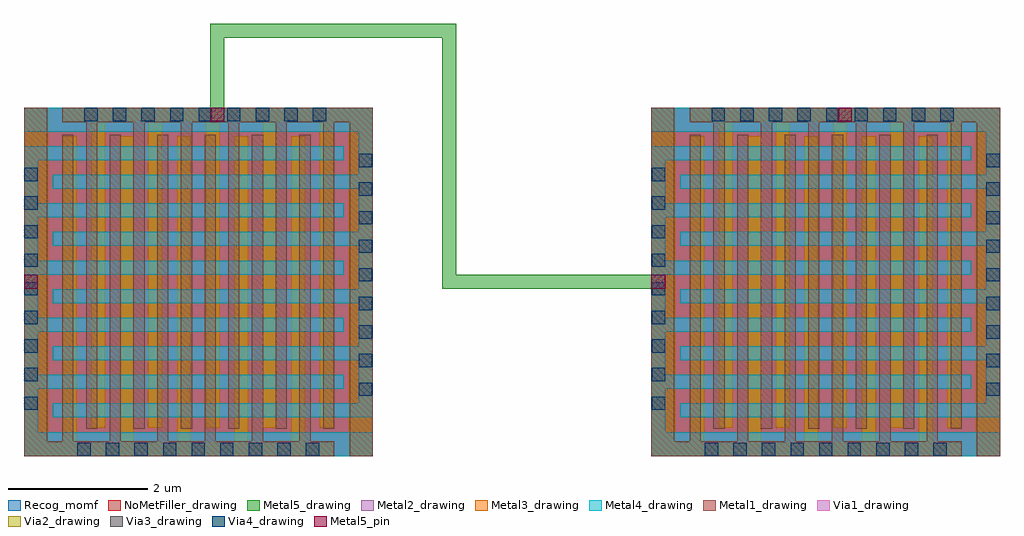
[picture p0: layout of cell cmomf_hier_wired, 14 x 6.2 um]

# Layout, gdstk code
import gdstk
lib = gdstk.Library(unit=1e-6, precision=1e-09)
def R(c, l, rs):  # rectangles x0, y0, x1, y1
    for r in rs: c.add(gdstk.rectangle(r[:2], r[2:], *l))
def A(c, l, x, y, w, h, nx, ny, dx, dy):  # array of equal rectangles
    R(c, l, [(x+i*dx, y+j*dy, x+i*dx+w, y+j*dy+h) for i in range(nx) for j in range(ny)])
Metal1_drawing = (8, 0)
Metal2_drawing = (10, 0)
Via1_drawing = (19, 0)
Via2_drawing = (29, 0)
Metal3_drawing = (30, 0)
Via3_drawing = (49, 0)
Metal4_drawing = (50, 0)
Via4_drawing = (66, 0)
Metal5_drawing = (67, 0)
Metal5_pin = (67, 2)
Recog_momf = (99, 40)
NoMetFiller_drawing = (160, 0)

cmomf_unit = lib.new_cell('cmomf_unit')
A(cmomf_unit, Metal1_drawing, 0.55, 0, 0.16, 4.61, 6, 1, 0.68, 0)
A(cmomf_unit, Metal1_drawing, 0.89, 0.39, 0.16, 4.61, 6, 1, 0.68, 0)
R(cmomf_unit, Metal1_drawing, [(0,0,0.33,5), (0,0,4.45,0.21), (4.67,0,5,5), (0.55,4.79,5,5)])
A(cmomf_unit, Metal2_drawing, 0.42, 0.555, 4.58, 0.2, 1, 5, 0, 0.82)
A(cmomf_unit, Metal2_drawing, 0, 0.965, 4.58, 0.2, 1, 5, 0, 0.82)
R(cmomf_unit, Metal2_drawing, [(0,0,5,0.345), (0,0,0.205,4.445), (4.795,0.555,5,5), (0,4.655,5,5)])
A(cmomf_unit, Via1_drawing, 0.765, 0.01, 0.19, 0.19, 9, 1, 0.41, 0)
A(cmomf_unit, Via1_drawing, 0.01, 0.665, 0.19, 0.19, 1, 9, 0, 0.41)
A(cmomf_unit, Via1_drawing, 4.8, 0.865, 0.19, 0.19, 1, 9, 0, 0.41)
A(cmomf_unit, Via1_drawing, 0.865, 4.8, 0.19, 0.19, 9, 1, 0.41, 0)
A(cmomf_unit, Via2_drawing, 0.765, 0.005, 0.19, 0.19, 9, 1, 0.41, 0)
A(cmomf_unit, Via2_drawing, 0.005, 0.665, 0.19, 0.19, 1, 9, 0, 0.41)
A(cmomf_unit, Via2_drawing, 4.805, 0.865, 0.19, 0.19, 1, 9, 0, 0.41)
A(cmomf_unit, Via2_drawing, 0.865, 4.805, 0.19, 0.19, 9, 1, 0.41, 0)
A(cmomf_unit, Metal3_drawing, 0.555, 0, 0.2, 4.59, 5, 1, 0.82, 0)
A(cmomf_unit, Metal3_drawing, 0.965, 0.41, 0.2, 4.59, 5, 1, 0.82, 0)
R(cmomf_unit, Metal3_drawing, [(0,0,0.345,5), (0,0,4.445,0.2), (4.655,0,5,5), (0.555,4.8,5,5)])
A(cmomf_unit, Via3_drawing, 0.765, 0.005, 0.19, 0.19, 9, 1, 0.41, 0)
A(cmomf_unit, Via3_drawing, 0.005, 0.665, 0.19, 0.19, 1, 9, 0, 0.41)
A(cmomf_unit, Via3_drawing, 4.805, 0.865, 0.19, 0.19, 1, 9, 0, 0.41)
A(cmomf_unit, Via3_drawing, 0.865, 4.805, 0.19, 0.19, 9, 1, 0.41, 0)
A(cmomf_unit, Metal4_drawing, 0.41, 0.555, 4.59, 0.2, 1, 5, 0, 0.82)
A(cmomf_unit, Metal4_drawing, 0, 0.965, 4.59, 0.2, 1, 5, 0, 0.82)
R(cmomf_unit, Metal4_drawing, [(0,0,5,0.345), (0,0,0.2,4.445), (4.8,0.555,5,5), (0,4.655,5,5)])
A(cmomf_unit, Via4_drawing, 0.765, 0.005, 0.19, 0.19, 9, 1, 0.41, 0)
A(cmomf_unit, Via4_drawing, 0.005, 0.665, 0.19, 0.19, 1, 9, 0, 0.41)
A(cmomf_unit, Via4_drawing, 4.805, 0.865, 0.19, 0.19, 1, 9, 0, 0.41)
A(cmomf_unit, Via4_drawing, 0.865, 4.805, 0.19, 0.19, 9, 1, 0.41, 0)
A(cmomf_unit, Metal5_drawing, 0.555, 0, 0.2, 4.59, 5, 1, 0.82, 0)
A(cmomf_unit, Metal5_drawing, 0.965, 0.41, 0.2, 4.59, 5, 1, 0.82, 0)
R(cmomf_unit, Metal5_drawing, [(0,0,0.345,5), (0,0,4.445,0.2), (4.655,0,5,5), (0.555,4.8,5,5)])
R(cmomf_unit, Metal5_pin, [(0,2.4,0.2,2.6), (2.675,4.8,2.875,5)])
R(cmomf_unit, Recog_momf, [(0,0,5,5)])
R(cmomf_unit, NoMetFiller_drawing, [(0,0,5,5)])
cmomf_unit.add(gdstk.Label('cap_cmomf C=39.800fF', (0,-0.5), layer=63, texttype=0))

cmomf_hier_wired = lib.new_cell('cmomf_hier_wired')
R(cmomf_hier_wired, Metal5_drawing, [(6,2.4,6.2,6.2), (6,2.4,9.2,2.6), (2.675,4.8,2.875,6.2), (2.675,6,6.2,6.2)])
cmomf_hier_wired.add(gdstk.Reference(cmomf_unit, (0,0)))
cmomf_hier_wired.add(gdstk.Reference(cmomf_unit, (9,0)))

lib.write_gds('cmomf_hier_wired.gds')
